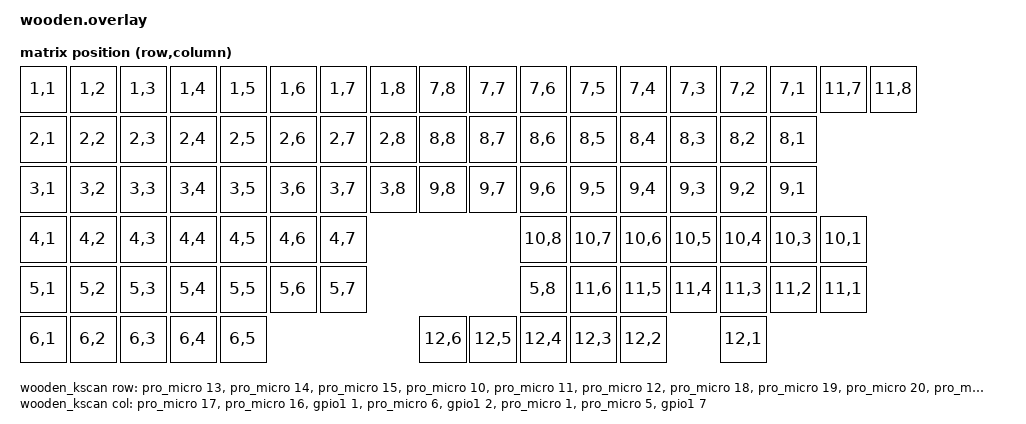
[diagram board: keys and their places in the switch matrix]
#include <dt-bindings/zmk/matrix_transform.h>
#include <wooden-layouts.dtsi>

/ {
    chosen {
        zmk,physical-layout = &wooden_physical_layout_0;
        zmk,kscan = &wooden_kscan;
    }

    //wooden_kscan = label of kscan0
    wooden_kscan: kscan0 {
        compatible = "zmk,kscan-gpio-matrix";
        diode-direction = "col2row";
        wakeup-source;

        col-gpios
            = <&pro_micro   17  GPIO_ACTIVE_HIGH> //col 1 arduino label
            , <&pro_micro   16  GPIO_ACTIVE_HIGH> //col 2
            , <&gpio1       1   GPIO_ACTIVE_HIGH> //col 3
            , <&pro_micro   6   GPIO_ACTIVE_HIGH> //col 4
            , <&gpio1       2   GPIO_ACTIVE_HIGH> //col 5
            , <&pro_micro   1   GPIO_ACTIVE_HIGH> //col 6
            , <&pro_micro   5   GPIO_ACTIVE_HIGH> //col 7
            , <&gpio1       7   GPIO_ACTIVE_HIGH> //col 8
            ;

        row-gpios
            = <&pro_micro 13    (GPIO_ACTIVE_HIGH | GPIO_PULL_DOWN)> //row 1
            , <&pro_micro 14    (GPIO_ACTIVE_HIGH | GPIO_PULL_DOWN)> //row 2
            , <&pro_micro 15    (GPIO_ACTIVE_HIGH | GPIO_PULL_DOWN)> //row 3
            , <&pro_micro 10     (GPIO_ACTIVE_HIGH | GPIO_PULL_DOWN)> //row 4
            , <&pro_micro 11    (GPIO_ACTIVE_HIGH | GPIO_PULL_DOWN)> //row 5
            , <&pro_micro 12     (GPIO_ACTIVE_HIGH | GPIO_PULL_DOWN)> //row 6
            , <&pro_micro 18    (GPIO_ACTIVE_HIGH | GPIO_PULL_DOWN)> //row 7
            , <&pro_micro 19    (GPIO_ACTIVE_HIGH | GPIO_PULL_DOWN)> //row 8
            , <&pro_micro 20    (GPIO_ACTIVE_HIGH | GPIO_PULL_DOWN)> //row 9
            , <&pro_micro 9     (GPIO_ACTIVE_HIGH | GPIO_PULL_DOWN)> //row 10
            , <&pro_micro 8     (GPIO_ACTIVE_HIGH | GPIO_PULL_DOWN)> //row 11
            , <&pro_micro 7     (GPIO_ACTIVE_HIGH | GPIO_PULL_DOWN)> //row 12
            ;
    };

    wooden_default_transform: keymap_transform0 {
        compatible = "zmk,matrix-transform";
        columns = <8>; // Length of the "col-gpios" array
        rows = <12>; // Length of the "row-gpios" array

        col-offset = <-1>;
        row-offset = <-1>;
        map = <
            RC(1,1) RC(1,2) RC(1,3) RC(1,4) RC(1,5) RC(1,6) RC(1,7) RC(1,8)     RC(7,8) RC(7,7) RC(7,6) RC(7,5) RC(7,4) RC(7,3) RC(7,2) RC(7,1) RC(11,7) RC(11,8)
            RC(2,1) RC(2,2) RC(2,3) RC(2,4) RC(2,5) RC(2,6) RC(2,7) RC(2,8)     RC(8,8) RC(8,7) RC(8,6) RC(8,5) RC(8,4) RC(8,3) RC(8,2) RC(8,1)
            RC(3,1) RC(3,2) RC(3,3) RC(3,4) RC(3,5) RC(3,6) RC(3,7) RC(3,8)     RC(9,8) RC(9,7) RC(9,6) RC(9,5) RC(9,4) RC(9,3) RC(9,2) RC(9,1)
            RC(4,1) RC(4,2) RC(4,3) RC(4,4) RC(4,5) RC(4,6) RC(4,7)             RC(10,8) RC(10,7) RC(10,6) RC(10,5) RC(10,4) RC(10,3)          RC(10,1)
            RC(5,1) RC(5,2) RC(5,3) RC(5,4) RC(5,5) RC(5,6) RC(5,7) RC(5,8)                       RC(11,6) RC(11,5) RC(11,4) RC(11,3) RC(11,2) RC(11,1)
            RC(6,1) RC(6,2) RC(6,3) RC(6,4) RC(6,5)                             RC(12,6) RC(12,5) RC(12,4) RC(12,3) RC(12,2) RC(12,1)
 
        >;
    };
};

